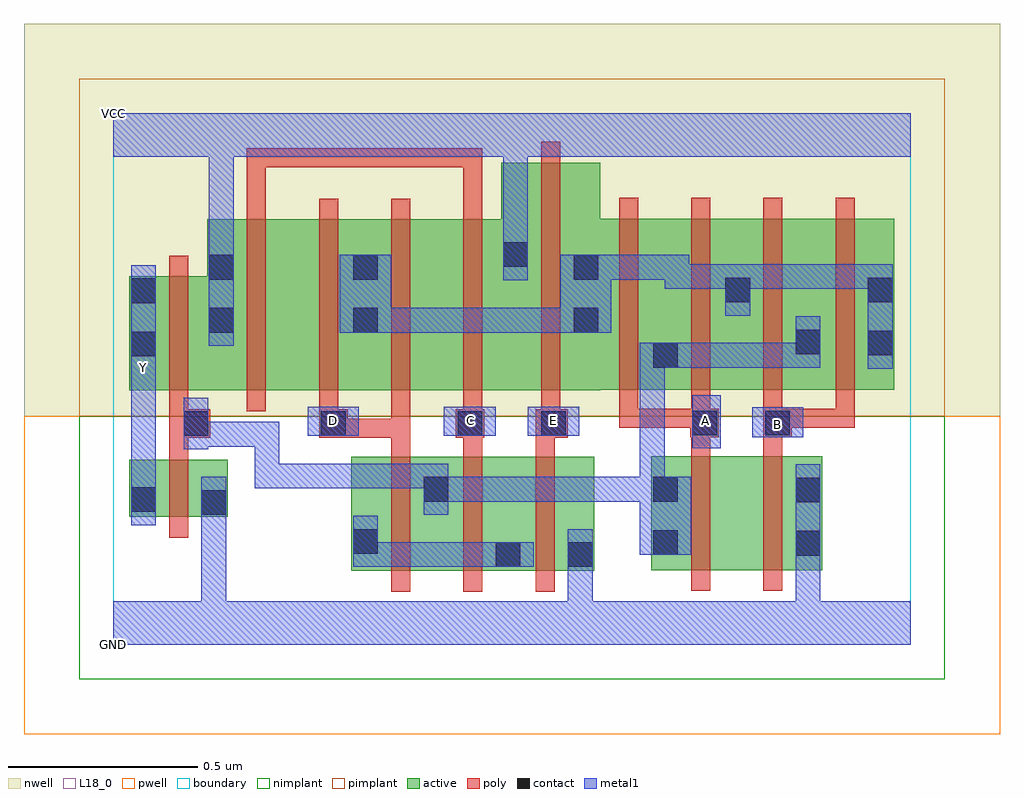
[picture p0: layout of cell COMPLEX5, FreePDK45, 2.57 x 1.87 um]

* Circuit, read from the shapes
.subckt COMPLEX5 A B C D E GND VCC Y
M1 GND n1 Y VSUBS nfet w=0.15u l=0.05u
M2 n1 D n2 VSUBS nfet w=0.3u l=0.05u
M3 n2 C n1 VSUBS nfet w=0.3u l=0.05u
M4 GND E n2 VSUBS nfet w=0.3u l=0.05u
M5 n3 A n1 VSUBS nfet w=0.3u l=0.05u
M6 GND B n3 VSUBS nfet w=0.3u l=0.05u
M7 VCC n1 Y n4 pfet w=0.3u l=0.05u
M8 n5 C VCC n4 pfet w=0.45u l=0.05u
M9 n6 D n5 n4 pfet w=0.45u l=0.05u
M10 n7 D n6 n4 pfet w=0.45u l=0.05u
M11 VCC C n7 n4 pfet w=0.45u l=0.05u
M12 n6 E VCC n4 pfet w=0.6u l=0.05u
M13 n1 A n6 n4 pfet w=0.45u l=0.05u m=2
M14 n1 B n6 n4 pfet w=0.45u l=0.05u m=2
.ends

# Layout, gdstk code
import gdstk
lib = gdstk.Library(unit=1e-6, precision=1e-09)
def R(c, l, rs):  # rectangles x0, y0, x1, y1
    for r in rs: c.add(gdstk.rectangle(r[:2], r[2:], *l))
def A(c, l, x, y, w, h, nx, ny, dx, dy):  # array of equal rectangles
    R(c, l, [(x+i*dx, y+j*dy, x+i*dx+w, y+j*dy+h) for i in range(nx) for j in range(ny)])
active = (1, 0)
pwell = (2, 0)
nwell = (3, 0)
nimplant = (4, 0)
pimplant = (5, 0)
poly = (9, 0)
contact = (10, 0)
metal1 = (11, 0)
L18_0 = (18, 0)
boundary = (235, 0)

complex5 = lib.new_cell('COMPLEX5')
R(complex5, active, [(0.627,0.195,0.887,0.495), (0.812,0.195,1.077,0.495), (1.002,0.195,1.267,0.495), (1.192,0.195,1.267,0.495), (1.417,0.197,1.642,0.497), (1.642,0.197,1.867,0.497), (0.627,0.2,0.702,0.495), (1.002,0.2,1.077,0.397), (1.417,0.2,1.492,0.497), (1.792,0.23,1.867,0.497), (0.812,0.247,0.887,0.447), (0.042,0.337,0.302,0.487), (0.227,0.337,0.302,0.487), (0.042,0.345,0.117,0.487), (0.042,0.67,0.117,0.97), (0.042,0.67,0.322,0.97), (0.247,0.67,0.472,1.12), (0.247,0.67,0.322,1.12), (0.472,0.67,0.702,1.12), (0.627,0.67,0.852,1.12), (0.627,0.67,0.702,1.12), (0.852,0.67,1.097,1.12), (1.022,0.67,1.282,1.27), (1.207,0.672,1.492,1.122), (1.207,0.672,1.282,1.2), (1.417,0.672,1.682,1.122), (1.417,0.672,1.492,1.07), (1.607,0.672,1.867,1.122), (1.792,0.672,2.057,1.122), (1.792,0.672,1.867,1.07), (1.982,0.672,2.057,1.107), (1.607,0.702,1.682,1.107), (1.022,0.722,1.097,1.107)])
R(complex5, pwell, [(-0.235,-0.235,2.335,0.602)])
R(complex5, nwell, [(-0.235,0.602,2.335,1.635)])
R(complex5, nimplant, [(-0.09,-0.09,2.19,0.602)])
R(complex5, pimplant, [(-0.09,0.602,2.19,1.49)])
A(complex5, poly, 0.732, 0.14, 0.05, 0.41, 3, 1, 0.19, 0)
A(complex5, poly, 0.732, 0.5, 0.05, 0.095, 3, 1, 0.19, 0)
A(complex5, poly, 1.332, 0.572, 0.05, 0.095, 4, 1, 0.19, 0)
A(complex5, poly, 0.352, 0.615, 0.05, 0.56, 4, 1, 0.19, 0)
A(complex5, poly, 1.332, 0.617, 0.05, 0.56, 4, 1, 0.19, 0)
R(complex5, poly, [(1.522,0.142,1.572,0.552), (1.712,0.142,1.762,0.552), (0.147,0.282,0.197,0.547), (0.147,0.497,0.197,0.595), (1.522,0.502,1.572,0.597), (1.712,0.502,1.762,0.597), (0.147,0.545,0.255,0.62), (0.542,0.545,0.617,0.62), (0.567,0.545,0.782,0.595), (0.732,0.545,0.782,0.595), (0.732,0.545,0.782,0.595), (0.732,0.545,0.782,0.595), (0.732,0.545,0.782,0.665), (0.902,0.545,0.977,0.62), (1.112,0.545,1.197,0.62), (1.52,0.547,1.595,0.622), (1.712,0.547,1.787,0.622), (0.147,0.57,0.197,0.665), (0.542,0.57,0.592,0.665), (0.922,0.57,0.972,0.665), (1.127,0.57,1.177,0.665), (1.332,0.572,1.382,0.622), (1.332,0.572,1.382,0.622), (1.332,0.572,1.382,0.622), (1.332,0.572,1.57,0.622), (1.737,0.572,1.952,0.622), (1.737,0.572,1.787,0.622), (1.737,0.572,1.787,0.622), (1.902,0.572,1.952,0.622), (0.147,0.615,0.197,1.025), (1.127,0.615,1.177,1.325), (0.352,1.125,0.402,1.307), (0.922,1.125,0.972,1.307), (0.352,1.257,0.402,1.307), (0.352,1.257,0.402,1.307), (0.352,1.257,0.402,1.307), (0.352,1.257,0.65,1.307), (0.6,1.257,0.65,1.307), (0.6,1.257,0.782,1.307), (0.732,1.257,0.782,1.307), (0.732,1.257,0.782,1.307), (0.732,1.257,0.782,1.307), (0.732,1.257,0.972,1.307), (0.922,1.257,0.972,1.307), (0.922,1.257,0.972,1.307), (0.922,1.257,0.972,1.307)])
R(complex5, contact, [(1.007,0.205,1.072,0.27), (1.197,0.205,1.262,0.27), (1.797,0.235,1.862,0.3), (1.422,0.237,1.487,0.302), (0.632,0.24,0.697,0.305), (0.232,0.342,0.297,0.407), (0.047,0.35,0.112,0.415), (1.797,0.375,1.862,0.44), (0.817,0.377,0.882,0.442), (1.422,0.377,1.487,0.442), (0.185,0.55,0.25,0.615), (0.547,0.55,0.612,0.615), (0.907,0.55,0.972,0.615), (1.127,0.55,1.192,0.615), (1.525,0.552,1.59,0.617), (1.717,0.552,1.782,0.617), (1.422,0.73,1.487,0.795), (0.047,0.76,0.112,0.825), (1.987,0.762,2.052,0.827), (1.797,0.765,1.862,0.83), (0.252,0.822,0.317,0.887), (0.632,0.822,0.697,0.887), (1.212,0.822,1.277,0.887), (0.047,0.9,0.112,0.965), (1.612,0.902,1.677,0.967), (1.987,0.902,2.052,0.967), (0.252,0.962,0.317,1.027), (0.632,0.962,0.697,1.027), (1.212,0.962,1.277,1.027), (1.027,0.995,1.092,1.06)])
R(complex5, metal1, [(0,0,2.1,0.115), (0.232,0.05,0.297,0.115), (0.232,0.05,0.297,0.115), (0.232,0.05,0.297,0.372), (1.197,0.05,1.262,0.115), (1.197,0.05,1.262,0.115), (1.197,0.05,1.262,0.235), (1.797,0.05,1.862,0.115), (1.797,0.05,1.862,0.115), (1.797,0.05,1.862,0.265), (1.197,0.17,1.262,0.305), (1.797,0.2,1.862,0.475), (0.632,0.205,0.697,0.27), (0.632,0.205,0.697,0.27), (0.632,0.205,0.697,0.34), (0.632,0.205,0.882,0.27), (0.817,0.205,0.882,0.27), (0.817,0.205,0.882,0.27), (0.817,0.205,0.882,0.27), (0.817,0.205,1.037,0.27), (0.972,0.205,1.107,0.27), (1.387,0.237,1.522,0.442), (0.232,0.307,0.297,0.442), (0.232,0.307,0.297,0.38), (0.047,0.315,0.112,0.45), (0.232,0.315,0.297,0.38), (0.817,0.342,0.882,0.477), (0.817,0.377,1.02,0.442), (0.955,0.377,1.02,0.442), (0.955,0.377,1.02,0.442), (0.955,0.377,1.02,0.442), (0.955,0.377,1.157,0.442), (1.092,0.377,1.157,0.442), (1.092,0.377,1.242,0.442), (1.177,0.377,1.242,0.442), (1.177,0.377,1.38,0.442), (1.315,0.377,1.38,0.442), (1.315,0.377,1.452,0.442), (1.387,0.377,1.452,0.442), (1.387,0.377,1.452,0.442), (1.387,0.377,1.452,0.795), (0.047,0.385,0.112,0.725), (0.372,0.412,0.437,0.477), (0.372,0.412,0.56,0.477), (0.372,0.412,0.437,0.587), (0.495,0.412,0.56,0.477), (0.495,0.412,0.697,0.477), (0.632,0.412,0.697,0.477), (0.632,0.412,0.697,0.477), (0.632,0.412,0.697,0.477), (0.632,0.412,0.882,0.477), (0.185,0.515,0.25,0.65), (1.525,0.517,1.6,0.657), (0.185,0.522,0.25,0.587), (0.185,0.522,0.25,0.587), (0.185,0.522,0.422,0.587), (0.357,0.522,0.422,0.587), (0.357,0.522,0.422,0.587), (0.357,0.522,0.437,0.587), (1.682,0.547,1.817,0.625), (0.512,0.55,0.647,0.627), (0.87,0.55,1.007,0.627), (1.092,0.55,1.227,0.627), (0.047,0.66,0.112,0.797), (0.047,0.725,0.112,0.79), (0.047,0.725,0.112,1), (1.987,0.727,2.052,1.002), (1.387,0.73,1.522,0.795), (1.457,0.73,1.522,0.795), (1.457,0.73,1.522,0.795), (1.457,0.73,1.725,0.795), (1.66,0.73,1.725,0.795), (1.66,0.73,1.862,0.795), (1.797,0.73,1.862,0.795), (1.797,0.73,1.862,0.795), (1.797,0.73,1.862,0.865), (0.252,0.787,0.317,1.062), (0.597,0.822,0.732,1.027), (0.667,0.822,0.732,0.887), (0.667,0.822,0.732,0.887), (0.667,0.822,0.882,0.887), (0.817,0.822,0.882,0.887), (0.817,0.822,0.882,0.887), (0.817,0.822,0.882,0.887), (0.817,0.822,1.02,0.887), (0.955,0.822,1.02,0.887), (0.955,0.822,1.242,0.887), (1.177,0.822,1.242,0.887), (1.177,0.822,1.242,0.887), (1.177,0.822,1.312,1.027), (1.612,0.867,1.677,1.002), (1.452,0.937,1.677,1.002), (1.452,0.937,1.517,1.027), (1.612,0.937,1.915,1.002), (1.85,0.937,1.915,1.002), (1.85,0.937,1.915,1.002), (1.85,0.937,1.915,1.002), (1.85,0.937,2.052,1.002), (1.987,0.937,2.052,1.002), (1.987,0.937,2.052,1.002), (1.027,0.96,1.092,1.095), (1.247,0.962,1.312,1.027), (1.247,0.962,1.312,1.027), (1.247,0.962,1.38,1.027), (1.315,0.962,1.38,1.027), (1.315,0.962,1.517,1.027), (1.452,0.962,1.517,1.027), (1.452,0.962,1.517,1.027), (0.252,0.997,0.317,1.35), (1.027,1.03,1.092,1.35), (0,1.285,2.1,1.4), (0.252,1.285,0.317,1.35), (0.252,1.285,0.317,1.35)])
R(complex5, L18_0, [(0,0,2.1,0.115), (0.232,0.05,0.297,0.115), (0.232,0.05,0.297,0.115), (0.232,0.05,0.297,0.372), (1.197,0.05,1.262,0.115), (1.197,0.05,1.262,0.115), (1.197,0.05,1.262,0.235), (1.797,0.05,1.862,0.115), (1.797,0.05,1.862,0.115), (1.797,0.05,1.862,0.265), (1.197,0.17,1.262,0.305), (1.797,0.2,1.862,0.475), (0.232,0.307,0.297,0.442), (0.232,0.307,0.297,0.38), (0.047,0.315,0.112,0.45), (0.232,0.315,0.297,0.38), (0.047,0.385,0.112,0.725), (1.525,0.517,1.6,0.657), (1.682,0.547,1.817,0.625), (1.717,0.547,1.782,0.612), (0.512,0.55,0.647,0.627), (0.87,0.55,1.007,0.627), (1.092,0.55,1.227,0.627), (0.547,0.557,0.612,0.622), (0.907,0.557,0.972,0.622), (1.127,0.557,1.192,0.622), (1.527,0.557,1.592,0.622), (0.047,0.66,0.112,0.797), (0.047,0.697,0.112,0.762), (0.047,0.725,0.112,1), (0.047,0.725,0.112,0.79), (0.252,0.787,0.317,1.062), (1.027,0.96,1.092,1.095), (0.252,0.997,0.317,1.35), (1.027,1.03,1.092,1.35), (0,1.285,2.1,1.4), (0.252,1.285,0.317,1.35), (0.252,1.285,0.317,1.35)])
R(complex5, boundary, [(0,0,2.1,1.4)])
complex5.add(gdstk.Label('A', (1.56,0.59), layer=11, texttype=0))
complex5.add(gdstk.Label('B', (1.75,0.58), layer=11, texttype=0))
complex5.add(gdstk.Label('C', (0.94,0.59), layer=11, texttype=0))
complex5.add(gdstk.Label('D', (0.58,0.59), layer=11, texttype=0))
complex5.add(gdstk.Label('E', (1.16,0.59), layer=11, texttype=0))
complex5.add(gdstk.Label('Y', (0.08,0.73), layer=11, texttype=0))
complex5.add(gdstk.Label('VCC', (0,1.4), layer=11, texttype=0))
complex5.add(gdstk.Label('GND', (0,0), layer=11, texttype=0))

lib.write_gds('COMPLEX5.gds')
